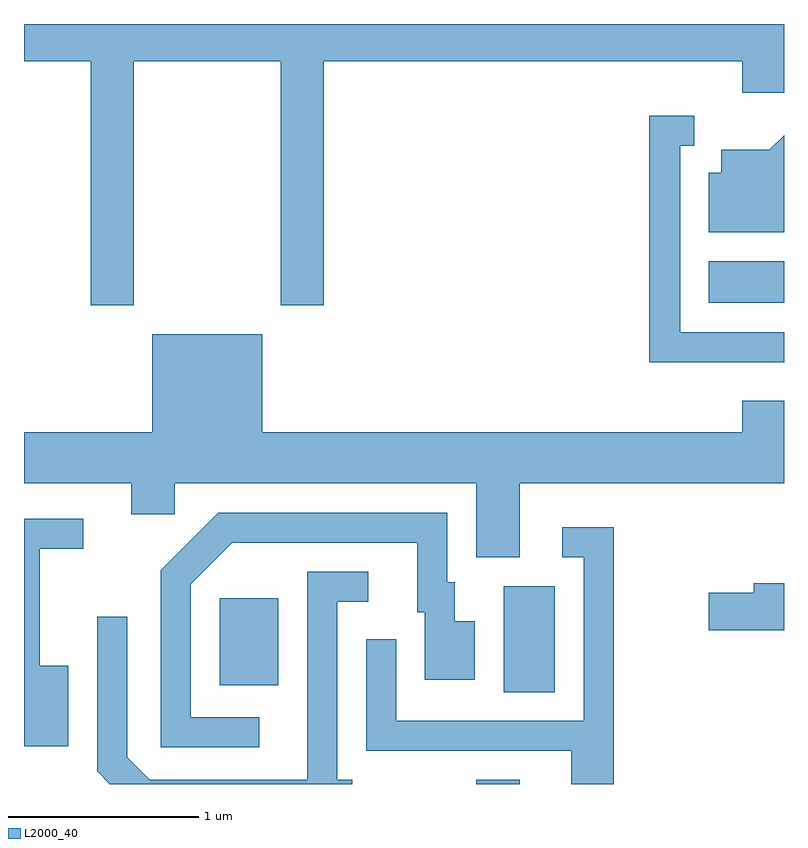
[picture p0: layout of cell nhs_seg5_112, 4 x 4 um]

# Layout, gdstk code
import gdstk
lib = gdstk.Library(unit=1e-6, precision=1e-09)
def R(c, l, rs):  # rectangles x0, y0, x1, y1
    for r in rs: c.add(gdstk.rectangle(r[:2], r[2:], *l))
def P(c, l, *ps):  # polygons
    for p in ps: c.add(gdstk.Polygon(p, *l))
L2000_40 = (2000, 40)

nhs_seg5_112 = lib.new_cell('nhs_seg5_112')
R(nhs_seg5_112, L2000_40, [(189.991,1484.072,190.219,1484.094), (190.136,1484.556,190.404,1485.114), (188.641,1484.591,188.949,1485.049), (191.216,1486.606,191.611,1486.824)])
P(nhs_seg5_112, L2000_40, [(188.189,1487.876),(188.961,1487.876),(188.961,1486.591),(189.189,1486.591),(189.189,1487.876),(191.391,1487.876),(191.391,1487.711),(191.611,1487.711),(191.611,1488.072),(187.611,1488.072),(187.611,1487.876),(187.961,1487.876),(187.961,1486.591),(188.189,1486.591)],
  [(191.611,1486.449),(191.064,1486.449),(191.064,1487.431),(191.138,1487.431),(191.138,1487.589),(190.901,1487.589),(190.901,1486.291),(191.611,1486.291)],
  [(191.611,1487.486),(191.534,1487.409),(191.281,1487.409),(191.281,1487.289),(191.216,1487.289),(191.216,1486.976),(191.611,1486.976)],
  [(190.219,1485.656),(191.611,1485.656),(191.611,1486.089),(191.391,1486.089),(191.391,1485.924),(188.864,1485.924),(188.864,1486.439),(188.286,1486.439),(188.286,1485.924),(187.611,1485.924),(187.611,1485.656),(188.176,1485.656),(188.176,1485.491),(188.404,1485.491),(188.404,1485.656),(189.991,1485.656),(189.991,1485.266),(190.219,1485.266)],
  [(188.848,1484.424),(188.489,1484.424),(188.489,1485.124),(188.707,1485.341),(189.681,1485.341),(189.681,1484.976),(189.721,1484.976),(189.721,1484.621),(189.984,1484.621),(189.984,1484.929),(189.879,1484.929),(189.879,1485.134),(189.839,1485.134),(189.839,1485.499),(188.634,1485.499),(188.331,1485.197),(188.331,1484.266),(188.848,1484.266)],
  [(187.844,1484.694),(187.694,1484.694),(187.694,1485.311),(187.923,1485.311),(187.923,1485.469),(187.611,1485.469),(187.611,1484.271),(187.844,1484.271)],
  [(190.714,1485.424),(190.443,1485.424),(190.443,1485.266),(190.556,1485.266),(190.556,1484.404),(189.569,1484.404),(189.569,1484.833),(189.411,1484.833),(189.411,1484.246),(190.491,1484.246),(190.491,1484.072),(190.714,1484.072)],
  [(189.338,1484.094),(189.259,1484.094),(189.259,1485.031),(189.423,1485.031),(189.423,1485.189),(189.101,1485.189),(189.101,1484.094),(188.272,1484.094),(188.154,1484.212),(188.154,1484.953),(187.996,1484.953),(187.996,1484.139),(188.063,1484.072),(189.338,1484.072)],
  [(191.611,1485.129),(191.451,1485.129),(191.451,1485.079),(191.216,1485.079),(191.216,1484.881),(191.611,1484.881)])

lib.write_gds('nhs_seg5_112.gds')
